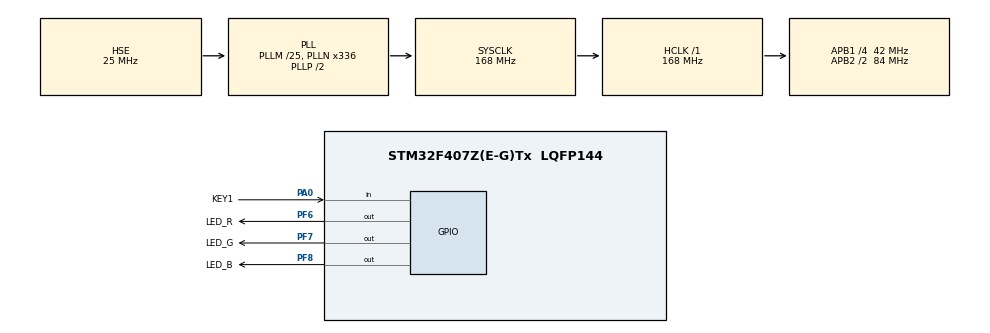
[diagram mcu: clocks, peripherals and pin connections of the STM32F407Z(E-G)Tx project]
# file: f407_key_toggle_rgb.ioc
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Mcu.Family=STM32F4
Mcu.Name=STM32F407Z(E-G)Tx
Mcu.Package=LQFP144
NVIC.PriorityGroup=NVIC_PRIORITYGROUP_4
PA0-WKUP.GPIO_Label=KEY1
PA0-WKUP.GPIO_PuPd=GPIO_NOPULL
PA0-WKUP.Signal=GPIO_Input
PA13.Mode=Serial_Wire
PA13.Signal=SYS_JTMS-SWDIO
PA14.Mode=Serial_Wire
PA14.Signal=SYS_JTCK-SWCLK
PF6.GPIO_Label=LED_R
PF6.GPIO_ModeDefaultOutputPP=GPIO_MODE_OUTPUT_PP
PF6.PinState=GPIO_PIN_SET
PF6.Signal=GPIO_Output
PF7.GPIO_Label=LED_G
PF7.PinState=GPIO_PIN_SET
PF7.Signal=GPIO_Output
PF8.GPIO_Label=LED_B
PF8.PinState=GPIO_PIN_SET
PF8.Signal=GPIO_Output
PH0-OSC_IN.Mode=HSE-External-Oscillator
PH0-OSC_IN.Signal=RCC_OSC_IN
PH1-OSC_OUT.Mode=HSE-External-Oscillator
PH1-OSC_OUT.Signal=RCC_OSC_OUT
ProjectManager.HeapSize=0x200
ProjectManager.StackSize=0x400
ProjectManager.TargetToolchain=CMake
RCC.48MHZClocksFreq_Value=84000000
RCC.AHBFreq_Value=168000000
RCC.APB1CLKDivider=RCC_HCLK_DIV4
RCC.APB1Freq_Value=42000000
RCC.APB1TimFreq_Value=84000000
RCC.APB2CLKDivider=RCC_HCLK_DIV2
RCC.APB2Freq_Value=84000000
RCC.APB2TimFreq_Value=168000000
RCC.CortexFreq_Value=168000000
RCC.HCLKFreq_Value=168000000
RCC.HSE_VALUE=25000000
RCC.HSI_VALUE=16000000
RCC.LSE_VALUE=32768
RCC.PLLM=25
RCC.PLLN=336
RCC.PLLSourceVirtual=RCC_PLLSOURCE_HSE
RCC.SYSCLKFreq_VALUE=168000000
RCC.SYSCLKSource=RCC_SYSCLKSOURCE_PLLCLK
RCC.VCOOutputFreq_Value=336000000
board=custom

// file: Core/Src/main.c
/* USER CODE BEGIN Header */
/**
  ******************************************************************************
  * @file           : main.c
  * @brief          : Main program body
  ******************************************************************************
  * @attention
  *
  * Copyright (c) 2026 STMicroelectronics.
  * All rights reserved.
  *
  * This software is licensed under terms that can be found in the LICENSE file
  * in the root directory of this software component.
  * If no LICENSE file comes with this software, it is provided AS-IS.
  *
  ******************************************************************************
  */
/* USER CODE END Header */
#include "main.h"

/* USER CODE BEGIN PV */
/* USER CODE BEGIN PV */

/* 记录红灯当前状态：0 表示灭，1 表示亮 */
static uint8_t led_on = 0U;

/* USER CODE END PV */
/* USER CODE END PV */

void SystemClock_Config(void);
static void MX_GPIO_Init(void);
/* USER CODE BEGIN PFP */
/* USER CODE BEGIN PFP */

/* 获取一次完整的按键按下、释放事件 */
static uint8_t Key_GetPressEvent(void);

/* 根据 on 参数控制红灯，on=1 点亮，on=0 熄灭 */
static void LED_R_Set(uint8_t on);

/* USER CODE END PFP */
/* USER CODE END PFP */

int main(void)
{

  /* MCU Configuration--------------------------------------------------------*/

  /* Reset of all peripherals, Initializes the Flash interface and the Systick. */
  HAL_Init();

  /* Configure the system clock */
  SystemClock_Config();

  /* Initialize all configured peripherals */
  MX_GPIO_Init();
  /* USER CODE BEGIN 2 */
  /* USER CODE BEGIN 2 */

  /* 确保程序启动时红灯处于熄灭状态 */
  LED_R_Set(0U);

  /* USER CODE END 2 */
  /* USER CODE END 2 */

  /* Infinite loop */
  while (1)
  {
    if (Key_GetPressEvent() != 0U)
  {
    led_on = !led_on;
    LED_R_Set(led_on);
  }
    /* USER CODE BEGIN 3 */
  }
  /* 每产生一次有效按键事件，就翻转一次灯的状态 */
  /* USER CODE END 3 */
}

void SystemClock_Config(void)
{
  RCC_OscInitTypeDef RCC_OscInitStruct = {0};
  RCC_ClkInitTypeDef RCC_ClkInitStruct = {0};

  /** Configure the main internal regulator output voltage
  */
  __HAL_RCC_PWR_CLK_ENABLE();
  __HAL_PWR_VOLTAGESCALING_CONFIG(PWR_REGULATOR_VOLTAGE_SCALE1);

  /** Initializes the RCC Oscillators according to the specified parameters
  * in the RCC_OscInitTypeDef structure.
  */
  RCC_OscInitStruct.OscillatorType = RCC_OSCILLATORTYPE_HSE;
  RCC_OscInitStruct.HSEState = RCC_HSE_ON;
  RCC_OscInitStruct.PLL.PLLState = RCC_PLL_ON;
  RCC_OscInitStruct.PLL.PLLSource = RCC_PLLSOURCE_HSE;
  RCC_OscInitStruct.PLL.PLLM = 25;
  RCC_OscInitStruct.PLL.PLLN = 336;
  RCC_OscInitStruct.PLL.PLLP = RCC_PLLP_DIV2;
  RCC_OscInitStruct.PLL.PLLQ = 4;
  if (HAL_RCC_OscConfig(&RCC_OscInitStruct) != HAL_OK)
  {
    Error_Handler();
  }

  /** Initializes the CPU, AHB and APB buses clocks
  */
  RCC_ClkInitStruct.ClockType = RCC_CLOCKTYPE_HCLK|RCC_CLOCKTYPE_SYSCLK
                              |RCC_CLOCKTYPE_PCLK1|RCC_CLOCKTYPE_PCLK2;
  RCC_ClkInitStruct.SYSCLKSource = RCC_SYSCLKSOURCE_PLLCLK;
  RCC_ClkInitStruct.AHBCLKDivider = RCC_SYSCLK_DIV1;
  RCC_ClkInitStruct.APB1CLKDivider = RCC_HCLK_DIV4;
  RCC_ClkInitStruct.APB2CLKDivider = RCC_HCLK_DIV2;

  if (HAL_RCC_ClockConfig(&RCC_ClkInitStruct, FLASH_LATENCY_5) != HAL_OK)
  {
    Error_Handler();
  }
}

static void MX_GPIO_Init(void)
{
  GPIO_InitTypeDef GPIO_InitStruct = {0};

  /* GPIO Ports Clock Enable */
  __HAL_RCC_GPIOF_CLK_ENABLE();
  __HAL_RCC_GPIOH_CLK_ENABLE();
  __HAL_RCC_GPIOA_CLK_ENABLE();

  /*Configure GPIO pin Output Level */
  HAL_GPIO_WritePin(GPIOF, LED_R_Pin|LED_G_Pin|LED_B_Pin, GPIO_PIN_SET);

  /*Configure GPIO pins : LED_R_Pin LED_G_Pin LED_B_Pin */
  GPIO_InitStruct.Pin = LED_R_Pin|LED_G_Pin|LED_B_Pin;
  GPIO_InitStruct.Mode = GPIO_MODE_OUTPUT_PP;
  GPIO_InitStruct.Pull = GPIO_NOPULL;
  GPIO_InitStruct.Speed = GPIO_SPEED_FREQ_LOW;
  HAL_GPIO_Init(GPIOF, &GPIO_InitStruct);

  /*Configure GPIO pin : KEY1_Pin */
  GPIO_InitStruct.Pin = KEY1_Pin;
  GPIO_InitStruct.Mode = GPIO_MODE_INPUT;
  GPIO_InitStruct.Pull = GPIO_NOPULL;
  HAL_GPIO_Init(KEY1_GPIO_Port, &GPIO_InitStruct);

}

/* USER CODE BEGIN 4 */
/* USER CODE BEGIN 4 */

/**
 * @brief  检测一次完整的按键事件
 * @retval 1：发生了一次有效按键事件
 * @retval 0：没有按键事件
 */
static uint8_t Key_GetPressEvent(void)
{
  /*
   * 板载 KEY1：
   * 松开时 PA0 为低电平；
   * 按下时 PA0 为高电平。
   */
  if (HAL_GPIO_ReadPin(KEY1_GPIO_Port, KEY1_Pin) == GPIO_PIN_SET)
  {
    /* 等待机械触点稳定，实现软件消抖 */
    HAL_Delay(20U);

    /* 再读一次，仍然为高电平才认为确实按下 */
    if (HAL_GPIO_ReadPin(KEY1_GPIO_Port, KEY1_Pin) == GPIO_PIN_SET)
    {
      /*
       * 等待用户松开。
       * 这样长按按键不会在主循环中连续翻转LED。
       */
      while (HAL_GPIO_ReadPin(KEY1_GPIO_Port, KEY1_Pin) == GPIO_PIN_SET)
      {
        HAL_Delay(1U);
      }

      /* 对释放过程也做简单消抖 */
      HAL_Delay(20U);

      return 1U;
    }
  }

  return 0U;
}

/**
 * @brief 控制红色LED
 * @param on 1：点亮；0：熄灭
 */
static void LED_R_Set(uint8_t on)
{
  /*
   * 板载RGB LED为低电平点亮：
   * GPIO_PIN_RESET = 输出低电平 = 点亮
   * GPIO_PIN_SET   = 输出高电平 = 熄灭
   */
  HAL_GPIO_WritePin(
      LED_R_GPIO_Port,
      LED_R_Pin,
      (on != 0U) ? GPIO_PIN_RESET : GPIO_PIN_SET);
}

/* USER CODE END 4 */
/* USER CODE END 4 */

void Error_Handler(void)
{
  __disable_irq();
  while (1)
  {
  }
}
